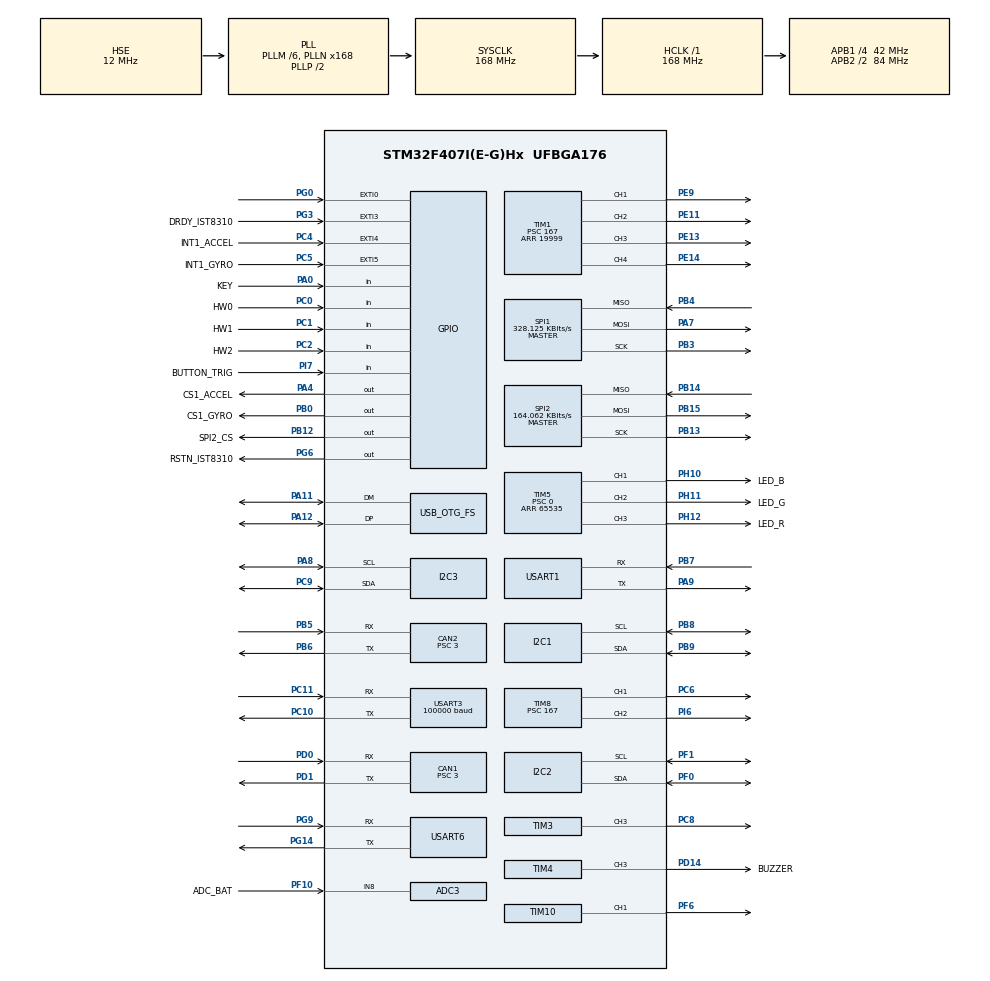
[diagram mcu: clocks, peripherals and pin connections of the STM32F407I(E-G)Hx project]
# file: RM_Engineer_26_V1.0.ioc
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ADC1.Channel-0\#ChannelRegularConversion=ADC_CHANNEL_TEMPSENSOR
ADC1.ClockPrescaler=ADC_CLOCK_SYNC_PCLK_DIV6
ADC1.NbrOfConversionFlag=1
ADC1.Rank-0\#ChannelRegularConversion=1
ADC1.SamplingTime-0\#ChannelRegularConversion=ADC_SAMPLETIME_3CYCLES
ADC1.master=1
ADC3.Channel-0\#ChannelRegularConversion=ADC_CHANNEL_8
ADC3.ClockPrescaler=ADC_CLOCK_SYNC_PCLK_DIV6
ADC3.NbrOfConversionFlag=1
ADC3.Rank-0\#ChannelRegularConversion=1
ADC3.SamplingTime-0\#ChannelRegularConversion=ADC_SAMPLETIME_3CYCLES
CAN1.BS1=CAN_BS1_10TQ
CAN1.BS2=CAN_BS2_3TQ
CAN1.CalculateBaudRate=1000000
CAN1.CalculateTimeQuantum=71.42857142857143
CAN1.Prescaler=3
CAN2.BS1=CAN_BS1_10TQ
CAN2.BS2=CAN_BS2_3TQ
CAN2.CalculateBaudRate=1000000
CAN2.CalculateTimeQuantum=71.42857142857143
CAN2.Prescaler=3
Dma.I2C2_TX.2.Direction=DMA_MEMORY_TO_PERIPH
Dma.I2C2_TX.2.FIFOMode=DMA_FIFOMODE_DISABLE
Dma.I2C2_TX.2.Instance=DMA1_Stream7
Dma.I2C2_TX.2.MemDataAlignment=DMA_MDATAALIGN_BYTE
Dma.I2C2_TX.2.MemInc=DMA_MINC_ENABLE
Dma.I2C2_TX.2.Mode=DMA_NORMAL
Dma.I2C2_TX.2.PeriphDataAlignment=DMA_PDATAALIGN_BYTE
Dma.I2C2_TX.2.PeriphInc=DMA_PINC_DISABLE
Dma.I2C2_TX.2.Priority=DMA_PRIORITY_HIGH
Dma.Request0=SPI1_RX
Dma.Request1=SPI1_TX
Dma.Request2=I2C2_TX
Dma.Request3=USART3_RX
Dma.Request4=USART6_RX
Dma.Request5=USART6_TX
Dma.Request6=USART1_TX
Dma.Request7=USART1_RX
Dma.SPI1_RX.0.Direction=DMA_PERIPH_TO_MEMORY
Dma.SPI1_RX.0.FIFOMode=DMA_FIFOMODE_DISABLE
Dma.SPI1_RX.0.Instance=DMA2_Stream2
Dma.SPI1_RX.0.MemDataAlignment=DMA_MDATAALIGN_BYTE
Dma.SPI1_RX.0.MemInc=DMA_MINC_ENABLE
Dma.SPI1_RX.0.Mode=DMA_NORMAL
Dma.SPI1_RX.0.PeriphDataAlignment=DMA_PDATAALIGN_BYTE
Dma.SPI1_RX.0.PeriphInc=DMA_PINC_DISABLE
Dma.SPI1_RX.0.Priority=DMA_PRIORITY_VERY_HIGH
Dma.SPI1_TX.1.Direction=DMA_MEMORY_TO_PERIPH
Dma.SPI1_TX.1.FIFOMode=DMA_FIFOMODE_DISABLE
Dma.SPI1_TX.1.Instance=DMA2_Stream3
Dma.SPI1_TX.1.MemDataAlignment=DMA_MDATAALIGN_BYTE
Dma.SPI1_TX.1.MemInc=DMA_MINC_ENABLE
Dma.SPI1_TX.1.Mode=DMA_NORMAL
Dma.SPI1_TX.1.PeriphDataAlignment=DMA_PDATAALIGN_BYTE
Dma.SPI1_TX.1.PeriphInc=DMA_PINC_DISABLE
Dma.SPI1_TX.1.Priority=DMA_PRIORITY_HIGH
Dma.USART1_RX.7.Direction=DMA_PERIPH_TO_MEMORY
Dma.USART1_RX.7.FIFOMode=DMA_FIFOMODE_DISABLE
Dma.USART1_RX.7.Instance=DMA2_Stream5
Dma.USART1_RX.7.MemDataAlignment=DMA_MDATAALIGN_BYTE
Dma.USART1_RX.7.MemInc=DMA_MINC_ENABLE
Dma.USART1_RX.7.Mode=DMA_NORMAL
Dma.USART1_RX.7.PeriphDataAlignment=DMA_PDATAALIGN_BYTE
Dma.USART1_RX.7.PeriphInc=DMA_PINC_DISABLE
Dma.USART1_RX.7.Priority=DMA_PRIORITY_VERY_HIGH
Dma.USART1_TX.6.Direction=DMA_MEMORY_TO_PERIPH
Dma.USART1_TX.6.FIFOMode=DMA_FIFOMODE_DISABLE
Dma.USART1_TX.6.Instance=DMA2_Stream7
Dma.USART1_TX.6.MemDataAlignment=DMA_MDATAALIGN_BYTE
Dma.USART1_TX.6.MemInc=DMA_MINC_ENABLE
Dma.USART1_TX.6.Mode=DMA_NORMAL
Dma.USART1_TX.6.PeriphDataAlignment=DMA_PDATAALIGN_BYTE
Dma.USART1_TX.6.PeriphInc=DMA_PINC_DISABLE
Dma.USART1_TX.6.Priority=DMA_PRIORITY_MEDIUM
Dma.USART3_RX.3.Direction=DMA_PERIPH_TO_MEMORY
Dma.USART3_RX.3.FIFOMode=DMA_FIFOMODE_DISABLE
Dma.USART3_RX.3.Instance=DMA1_Stream1
Dma.USART3_RX.3.MemDataAlignment=DMA_MDATAALIGN_BYTE
Dma.USART3_RX.3.MemInc=DMA_MINC_ENABLE
Dma.USART3_RX.3.Mode=DMA_NORMAL
Dma.USART3_RX.3.PeriphDataAlignment=DMA_PDATAALIGN_BYTE
Dma.USART3_RX.3.PeriphInc=DMA_PINC_DISABLE
Dma.USART3_RX.3.Priority=DMA_PRIORITY_HIGH
Dma.USART6_RX.4.Direction=DMA_PERIPH_TO_MEMORY
Dma.USART6_RX.4.FIFOMode=DMA_FIFOMODE_DISABLE
Dma.USART6_RX.4.Instance=DMA2_Stream1
Dma.USART6_RX.4.MemDataAlignment=DMA_MDATAALIGN_BYTE
Dma.USART6_RX.4.MemInc=DMA_MINC_ENABLE
Dma.USART6_RX.4.Mode=DMA_NORMAL
Dma.USART6_RX.4.PeriphDataAlignment=DMA_PDATAALIGN_BYTE
Dma.USART6_RX.4.PeriphInc=DMA_PINC_DISABLE
Dma.USART6_RX.4.Priority=DMA_PRIORITY_HIGH
Dma.USART6_TX.5.Direction=DMA_MEMORY_TO_PERIPH
Dma.USART6_TX.5.FIFOMode=DMA_FIFOMODE_DISABLE
Dma.USART6_TX.5.Instance=DMA2_Stream6
Dma.USART6_TX.5.MemDataAlignment=DMA_MDATAALIGN_BYTE
Dma.USART6_TX.5.MemInc=DMA_MINC_ENABLE
Dma.USART6_TX.5.Mode=DMA_NORMAL
Dma.USART6_TX.5.PeriphDataAlignment=DMA_PDATAALIGN_BYTE
Dma.USART6_TX.5.PeriphInc=DMA_PINC_DISABLE
Dma.USART6_TX.5.Priority=DMA_PRIORITY_MEDIUM
FREERTOS.INCLUDE_eTaskGetState=1
FREERTOS.INCLUDE_pcTaskGetTaskName=1
FREERTOS.INCLUDE_uxTaskGetStackHighWaterMark=1
FREERTOS.INCLUDE_vTaskCleanUpResources=1
FREERTOS.INCLUDE_vTaskDelayUntil=1
FREERTOS.INCLUDE_xEventGroupSetBitFromISR=1
FREERTOS.INCLUDE_xQueueGetMutexHolder=1
FREERTOS.INCLUDE_xSemaphoreGetMutexHolder=1
FREERTOS.INCLUDE_xTaskAbortDelay=1
FREERTOS.INCLUDE_xTaskGetCurrentTaskHandle=1
FREERTOS.INCLUDE_xTaskGetHandle=1
FREERTOS.INCLUDE_xTimerPendFunctionCall=1
FREERTOS.Tasks01=test,24,128,test_task,As weak,NULL,Dynamic,NULL,NULL
FREERTOS.configTOTAL_HEAP_SIZE=24576
I2C1.I2C_Mode=I2C_Fast
I2C2.I2C_Mode=I2C_Fast
I2C3.I2C_Mode=I2C_Fast
Mcu.Family=STM32F4
Mcu.Name=STM32F407I(E-G)Hx
Mcu.Package=UFBGA176
NVIC.CAN1_RX0_IRQn=true\:6\:0\:true\:false\:true\:true\:true\:true\:true
NVIC.CAN2_RX0_IRQn=true\:6\:0\:true\:false\:true\:true\:true\:true\:true
NVIC.DMA1_Stream1_IRQn=true\:5\:0\:true\:false\:false\:true\:false\:false\:true
NVIC.DMA1_Stream7_IRQn=true\:5\:0\:true\:false\:false\:true\:false\:true\:true
NVIC.DMA2_Stream1_IRQn=true\:5\:0\:true\:false\:true\:true\:false\:true\:true
NVIC.DMA2_Stream2_IRQn=true\:5\:0\:true\:false\:false\:true\:false\:true\:true
NVIC.DMA2_Stream3_IRQn=true\:5\:0\:true\:false\:false\:true\:false\:true\:true
NVIC.DMA2_Stream5_IRQn=true\:5\:0\:false\:false\:true\:true\:false\:true\:true
NVIC.DMA2_Stream6_IRQn=true\:5\:0\:true\:false\:true\:true\:false\:true\:true
NVIC.DMA2_Stream7_IRQn=true\:5\:0\:true\:false\:true\:true\:false\:true\:true
NVIC.EXTI0_IRQn=true\:6\:0\:true\:false\:true\:true\:true\:true\:true
NVIC.EXTI3_IRQn=true\:5\:0\:true\:false\:true\:true\:true\:true\:true
NVIC.EXTI4_IRQn=true\:5\:0\:true\:false\:true\:true\:true\:true\:true
NVIC.EXTI9_5_IRQn=true\:5\:0\:true\:false\:true\:true\:true\:true\:true
NVIC.OTG_FS_IRQn=true\:5\:0\:false\:false\:true\:true\:false\:true\:true
NVIC.PriorityGroup=NVIC_PRIORITYGROUP_4
NVIC.TIM2_IRQn=true\:15\:0\:false\:false\:true\:false\:false\:true\:true
NVIC.TimeBase=TIM2_IRQn
NVIC.TimeBaseIP=TIM2
NVIC.USART1_IRQn=true\:5\:0\:false\:false\:true\:true\:true\:true\:true
NVIC.USART3_IRQn=true\:4\:0\:true\:false\:false\:false\:true\:true\:true
NVIC.USART6_IRQn=true\:5\:0\:true\:false\:false\:true\:true\:true\:true
PA0-WKUP.GPIO_Label=KEY
PA0-WKUP.GPIO_PuPd=GPIO_PULLUP
PA0-WKUP.Signal=GPIO_Input
PA11.Mode=Device_Only
PA11.Signal=USB_OTG_FS_DM
PA12.Mode=Device_Only
PA12.Signal=USB_OTG_FS_DP
PA13.Mode=Serial_Wire
PA13.Signal=SYS_JTMS-SWDIO
PA14.Mode=Serial_Wire
PA14.Signal=SYS_JTCK-SWCLK
PA4.GPIO_Label=CS1_ACCEL
PA4.GPIO_PuPd=GPIO_PULLUP
PA4.GPIO_Speed=GPIO_SPEED_FREQ_HIGH
PA4.PinState=GPIO_PIN_SET
PA4.Signal=GPIO_Output
PA7.GPIO_PuPd=GPIO_PULLUP
PA7.Mode=Full_Duplex_Master
PA7.Signal=SPI1_MOSI
PA8.GPIO_Pu=GPIO_PULLUP
PA8.Mode=I2C
PA8.Signal=I2C3_SCL
PA9.Mode=Asynchronous
PA9.Signal=USART1_TX
PB0.GPIO_Label=CS1_GYRO
PB0.GPIO_PuPd=GPIO_PULLUP
PB0.GPIO_Speed=GPIO_SPEED_FREQ_HIGH
PB0.PinState=GPIO_PIN_SET
PB0.Signal=GPIO_Output
PB12.GPIO_Label=SPI2_CS
PB12.GPIO_PuPd=GPIO_PULLUP
PB12.GPIO_Speed=GPIO_SPEED_FREQ_MEDIUM
PB12.PinState=GPIO_PIN_SET
PB12.Signal=GPIO_Output
PB13.GPIO_PuPd=GPIO_PULLUP
PB13.Mode=Full_Duplex_Master
PB13.Signal=SPI2_SCK
PB14.GPIO_PuPd=GPIO_PULLUP
PB14.Mode=Full_Duplex_Master
PB14.Signal=SPI2_MISO
PB15.GPIO_PuPd=GPIO_PULLUP
PB15.Mode=Full_Duplex_Master
PB15.Signal=SPI2_MOSI
PB3.GPIO_PuPd=GPIO_PULLUP
PB3.Mode=Full_Duplex_Master
PB3.Signal=SPI1_SCK
PB4.GPIO_PuPd=GPIO_PULLUP
PB4.Mode=Full_Duplex_Master
PB4.Signal=SPI1_MISO
PB5.Mode=CAN_Activate
PB5.Signal=CAN2_RX
PB6.Mode=CAN_Activate
PB6.Signal=CAN2_TX
PB7.Mode=Asynchronous
PB7.Signal=USART1_RX
PB8.GPIO_Pu=GPIO_PULLUP
PB8.Mode=I2C
PB8.Signal=I2C1_SCL
PB9.GPIO_Pu=GPIO_PULLUP
PB9.Mode=I2C
PB9.Signal=I2C1_SDA
PC0.GPIO_Label=HW0
PC0.Signal=GPIO_Input
PC1.GPIO_Label=HW1
PC1.Signal=GPIO_Input
PC10.Mode=Asynchronous
PC10.Signal=USART3_TX
PC11.Mode=Asynchronous
PC11.Signal=USART3_RX
PC2.GPIO_Label=HW2
PC2.Signal=GPIO_Input
PC4.GPIO_Label=INT1_ACCEL
PC4.GPIO_ModeDefaultEXTI=GPIO_MODE_IT_FALLING
PC4.GPIO_PuPd=GPIO_PULLUP
PC4.Signal=GPXTI4
PC5.GPIO_Label=INT1_GYRO
PC5.GPIO_ModeDefaultEXTI=GPIO_MODE_IT_FALLING
PC5.GPIO_PuPd=GPIO_PULLUP
PC5.Signal=GPXTI5
PC6.GPIO_PuPd=GPIO_PULLUP
PC6.GPIO_Speed=GPIO_SPEED_FREQ_HIGH
PC6.Signal=S_TIM8_CH1
PC8.GPIO_PuPd=GPIO_PULLUP
PC8.GPIO_Speed=GPIO_SPEED_FREQ_HIGH
PC8.Signal=S_TIM3_CH3
PC9.GPIO_Pu=GPIO_PULLUP
PC9.Mode=I2C
PC9.Signal=I2C3_SDA
PD0.Mode=CAN_Activate
PD0.Signal=CAN1_RX
PD1.Mode=CAN_Activate
PD1.Signal=CAN1_TX
PD14.GPIO_Label=BUZZER
PD14.GPIO_PuPd=GPIO_PULLUP
PD14.GPIO_Speed=GPIO_SPEED_FREQ_VERY_HIGH
PD14.Signal=S_TIM4_CH3
PE11.GPIO_PuPd=GPIO_PULLUP
PE11.GPIO_Speed=GPIO_SPEED_FREQ_HIGH
PE11.Signal=S_TIM1_CH2
PE13.GPIO_PuPd=GPIO_PULLUP
PE13.GPIO_Speed=GPIO_SPEED_FREQ_HIGH
PE13.Signal=S_TIM1_CH3
PE14.GPIO_PuPd=GPIO_PULLUP
PE14.GPIO_Speed=GPIO_SPEED_FREQ_HIGH
PE14.Signal=S_TIM1_CH4
PE9.GPIO_PuPd=GPIO_PULLUP
PE9.GPIO_Speed=GPIO_SPEED_FREQ_HIGH
PE9.Signal=S_TIM1_CH1
PF0.GPIO_Pu=GPIO_PULLUP
PF0.Mode=I2C
PF0.Signal=I2C2_SDA
PF1.GPIO_Pu=GPIO_PULLUP
PF1.Mode=I2C
PF1.Signal=I2C2_SCL
PF10.GPIO_Label=ADC_BAT
PF10.Mode=IN8
PF10.Signal=ADC3_IN8
PF6.GPIO_PuPd=GPIO_PULLUP
PF6.GPIO_Speed=GPIO_SPEED_FREQ_HIGH
PF6.Signal=S_TIM10_CH1
PG0.GPIO_ModeDefaultEXTI=GPIO_MODE_IT_FALLING
PG0.GPIO_PuPd=GPIO_PULLUP
PG0.Signal=GPXTI0
PG14.Mode=Asynchronous
PG14.Signal=USART6_TX
PG3.GPIO_Label=DRDY_IST8310
PG3.GPIO_ModeDefaultEXTI=GPIO_MODE_IT_FALLING
PG3.GPIO_PuPd=GPIO_PULLUP
PG3.Signal=GPXTI3
PG6.GPIO_Label=RSTN_IST8310
PG6.GPIO_PuPd=GPIO_PULLUP
PG6.GPIO_Speed=GPIO_SPEED_FREQ_MEDIUM
PG6.PinState=GPIO_PIN_SET
PG6.Signal=GPIO_Output
PG9.Mode=Asynchronous
PG9.Signal=USART6_RX
PH0-OSC_IN.Mode=HSE-External-Oscillator
PH0-OSC_IN.Signal=RCC_OSC_IN
PH1-OSC_OUT.Mode=HSE-External-Oscillator
PH1-OSC_OUT.Signal=RCC_OSC_OUT
PH10.GPIO_Label=LED_B
PH10.GPIO_PuPd=GPIO_PULLUP
PH10.GPIO_Speed=GPIO_SPEED_FREQ_HIGH
PH10.Signal=S_TIM5_CH1
PH11.GPIO_Label=LED_G
PH11.GPIO_PuPd=GPIO_PULLUP
PH11.GPIO_Speed=GPIO_SPEED_FREQ_HIGH
PH11.Signal=S_TIM5_CH2
PH12.GPIO_Label=LED_R
PH12.GPIO_PuPd=GPIO_PULLUP
PH12.GPIO_Speed=GPIO_SPEED_FREQ_HIGH
PH12.Signal=S_TIM5_CH3
PI6.GPIO_PuPd=GPIO_PULLUP
PI6.GPIO_Speed=GPIO_SPEED_FREQ_HIGH
PI6.Signal=S_TIM8_CH2
PI7.GPIO_Label=BUTTON_TRIG
PI7.GPIO_PuPd=GPIO_PULLUP
PI7.Signal=GPIO_Input
ProjectManager.HeapSize=0x2000
ProjectManager.StackSize=0x2000
ProjectManager.TargetToolchain=CMake
RCC.48MHZClocksFreq_Value=48000000
RCC.AHBFreq_Value=168000000
RCC.APB1CLKDivider=RCC_HCLK_DIV4
RCC.APB1Freq_Value=42000000
RCC.APB1TimFreq_Value=84000000
RCC.APB2CLKDivider=RCC_HCLK_DIV2
RCC.APB2Freq_Value=84000000
RCC.APB2TimFreq_Value=168000000
RCC.CortexFreq_Value=168000000
RCC.HCLKFreq_Value=168000000
RCC.HSE_VALUE=12000000
RCC.HSI_VALUE=16000000
RCC.LSE_VALUE=32768
RCC.PLLM=6
RCC.PLLN=168
RCC.PLLQ=7
RCC.RCC_RTC_Clock_SourceVirtual=RCC_RTCCLKSOURCE_HSE_DIV30
RCC.RCC_RTC_Clock_Source_FROM_HSE=RCC_RTCCLKSOURCE_HSE_DIV30
RCC.SYSCLKFreq_VALUE=168000000
RCC.SYSCLKSource=RCC_SYSCLKSOURCE_PLLCLK
RCC.VCOOutputFreq_Value=336000000
RTC.AsynchPrediv=124
RTC.SynchPrediv=3199
SH.S_TIM10_CH1.0=TIM10_CH1,PWM Generation1 CH1
SH.S_TIM1_CH1.0=TIM1_CH1,PWM Generation1 CH1
SH.S_TIM1_CH2.0=TIM1_CH2,PWM Generation2 CH2
SH.S_TIM1_CH3.0=TIM1_CH3,PWM Generation3 CH3
SH.S_TIM1_CH4.0=TIM1_CH4,PWM Generation4 CH4
SH.S_TIM3_CH3.0=TIM3_CH3,PWM Generation3 CH3
SH.S_TIM4_CH3.0=TIM4_CH3,PWM Generation3 CH3
SH.S_TIM5_CH1.0=TIM5_CH1,PWM Generation1 CH1
SH.S_TIM5_CH2.0=TIM5_CH2,PWM Generation2 CH2
SH.S_TIM5_CH3.0=TIM5_CH3,PWM Generation3 CH3
SH.S_TIM8_CH1.0=TIM8_CH1,PWM Generation1 CH1
SH.S_TIM8_CH2.0=TIM8_CH2,PWM Generation2 CH2
SPI1.BaudRatePrescaler=SPI_BAUDRATEPRESCALER_256
SPI1.CLKPhase=SPI_PHASE_2EDGE
SPI1.CLKPolarity=SPI_POLARITY_HIGH
SPI1.CalculateBaudRate=328.125 KBits/s
SPI1.Direction=SPI_DIRECTION_2LINES
SPI1.Mode=SPI_MODE_MASTER
SPI1.VirtualType=VM_MASTER
SPI2.BaudRatePrescaler=SPI_BAUDRATEPRESCALER_256
SPI2.CLKPhase=SPI_PHASE_2EDGE
SPI2.CLKPolarity=SPI_POLARITY_HIGH
SPI2.CalculateBaudRate=164.062 KBits/s
SPI2.Direction=SPI_DIRECTION_2LINES
SPI2.Mode=SPI_MODE_MASTER
SPI2.VirtualType=VM_MASTER
TIM1.Channel-PWM\ Generation1\ CH1=TIM_CHANNEL_1
TIM1.Channel-PWM\ Generation2\ CH2=TIM_CHANNEL_2
TIM1.Channel-PWM\ Generation3\ CH3=TIM_CHANNEL_3
TIM1.Channel-PWM\ Generation4\ CH4=TIM_CHANNEL_4
TIM1.Period=19999
TIM1.Prescaler=167
TIM1.Pulse-PWM\ Generation1\ CH1=1000
TIM1.Pulse-PWM\ Generation2\ CH2=1000
TIM1.Pulse-PWM\ Generation3\ CH3=1000
TIM1.Pulse-PWM\ Generation4\ CH4=1000
TIM10.Channel=TIM_CHANNEL_1
TIM10.Period=4999
TIM3.Channel-PWM\ Generation3\ CH3=TIM_CHANNEL_3
TIM3.Period=8399
TIM4.Channel-PWM\ Generation3\ CH3=TIM_CHANNEL_3
TIM4.Period=65535
TIM4.Prescaler=167
TIM5.Channel-PWM\ Generation1\ CH1=TIM_CHANNEL_1
TIM5.Channel-PWM\ Generation2\ CH2=TIM_CHANNEL_2
TIM5.Channel-PWM\ Generation3\ CH3=TIM_CHANNEL_3
TIM5.Period=65535
TIM5.Prescaler=0
TIM8.Channel-PWM\ Generation1\ CH1=TIM_CHANNEL_1
TIM8.Channel-PWM\ Generation2\ CH2=TIM_CHANNEL_2
TIM8.Period=19999
TIM8.Prescaler=167
TIM8.Pulse-PWM\ Generation1\ CH1=1000
TIM8.Pulse-PWM\ Generation2\ CH2=1000
USART1.VirtualMode=VM_ASYNC
USART3.BaudRate=100000
USART3.Parity=PARITY_EVEN
USART3.VirtualMode=VM_ASYNC
USART6.VirtualMode=VM_ASYNC
USB_DEVICE.CLASS_NAME_FS=CDC
USB_DEVICE.VirtualMode-CDC_FS=Cdc
USB_DEVICE.VirtualModeFS=Cdc_FS
USB_OTG_FS.VirtualMode=Device_Only
VP_ADC1_TempSens_Input.Mode=IN-TempSens
VP_ADC1_Vref_Input.Mode=IN-Vrefint
VP_CRC_VS_CRC.Mode=CRC_Activate
VP_FREERTOS_VS_CMSIS_V2.Mode=CMSIS_V2
VP_RNG_VS_RNG.Mode=RNG_Activate
VP_RTC_VS_RTC_Activate.Mode=RTC_Enabled
VP_SYS_VS_tim2.Mode=TIM2
VP_TIM10_VS_ClockSourceINT.Mode=Enable_Timer
VP_TIM1_VS_ClockSourceINT.Mode=Internal
VP_TIM3_VS_ClockSourceINT.Mode=Internal
VP_TIM4_VS_ClockSourceINT.Mode=Internal
VP_TIM5_VS_ClockSourceINT.Mode=Internal
VP_TIM8_VS_ClockSourceINT.Mode=Internal
VP_USB_DEVICE_VS_USB_DEVICE_CDC_FS.Mode=CDC_FS
board=custom

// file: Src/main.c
/* USER CODE BEGIN Header */
/**
  ******************************************************************************
  * @file           : main.c
  * @brief          : Main program body
  ******************************************************************************
  * @attention
  *
  * Copyright (c) 2025 STMicroelectronics.
  * All rights reserved.
  *
  * This software is licensed under terms that can be found in the LICENSE file
  * in the root directory of this software component.
  * If no LICENSE file comes with this software, it is provided AS-IS.
  *
  ******************************************************************************
  */
/* USER CODE END Header */
#include "main.h"
#include "cmsis_os.h"
#include "adc.h"
#include "can.h"
#include "crc.h"
#include "dma.h"
#include "i2c.h"
#include "rng.h"
#include "rtc.h"
#include "spi.h"
#include "tim.h"
#include "usart.h"
#include "usb_device.h"
#include "gpio.h"

/* USER CODE BEGIN Includes */
#include "bsp_usart.h"
#include "remote_control.h"
#include "bsp_buzzer.h"
#include "bsp_can.h"

/* USER CODE END Includes */

/* USER CODE BEGIN PV */
extern const RC_ctrl_t* local_rc_ctrl;
/* USER CODE END PV */

void SystemClock_Config(void);
void MX_FREERTOS_Init(void);

int main(void)
{

  /* MCU Configuration--------------------------------------------------------*/

  /* Reset of all peripherals, Initializes the Flash interface and the Systick. */
  HAL_Init();

  /* Configure the system clock */
  SystemClock_Config();

  /* Initialize all configured peripherals */
  MX_GPIO_Init();
  MX_DMA_Init();
  MX_ADC1_Init();
  MX_ADC3_Init();
  MX_CAN1_Init();
  MX_CAN2_Init();
  MX_I2C1_Init();
  MX_SPI1_Init();
  MX_TIM4_Init();
  MX_TIM5_Init();
  MX_USART3_UART_Init();
  MX_TIM8_Init();
  MX_CRC_Init();
  MX_RNG_Init();
  MX_I2C2_Init();
  MX_I2C3_Init();
  MX_RTC_Init();
  MX_SPI2_Init();
  MX_TIM1_Init();
  MX_TIM3_Init();
  MX_TIM10_Init();
  MX_USART1_UART_Init();
  MX_USART6_UART_Init();
  /* USER CODE BEGIN 2 */

  BSP_CAN_Init();

  remote_control_init();
  HAL_Delay(100);
  local_rc_ctrl = get_remote_control_point();
 // buzzer_init();
  /* USER CODE END 2 */

  /* Init scheduler */
  osKernelInitialize();  /* Call init function for freertos objects (in cmsis_os2.c) */
  MX_FREERTOS_Init();

  /* Start scheduler */
  osKernelStart();

  /* We should never get here as control is now taken by the scheduler */

  /* Infinite loop */
  while (1)
  {

  }
}

void SystemClock_Config(void)
{
  RCC_OscInitTypeDef RCC_OscInitStruct = {0};
  RCC_ClkInitTypeDef RCC_ClkInitStruct = {0};

  /** Configure the main internal regulator output voltage
  */
  __HAL_RCC_PWR_CLK_ENABLE();
  __HAL_PWR_VOLTAGESCALING_CONFIG(PWR_REGULATOR_VOLTAGE_SCALE1);

  /** Initializes the RCC Oscillators according to the specified parameters
  * in the RCC_OscInitTypeDef structure.
  */
  RCC_OscInitStruct.OscillatorType = RCC_OSCILLATORTYPE_HSE;
  RCC_OscInitStruct.HSEState = RCC_HSE_ON;
  RCC_OscInitStruct.PLL.PLLState = RCC_PLL_ON;
  RCC_OscInitStruct.PLL.PLLSource = RCC_PLLSOURCE_HSE;
  RCC_OscInitStruct.PLL.PLLM = 6;
  RCC_OscInitStruct.PLL.PLLN = 168;
  RCC_OscInitStruct.PLL.PLLP = RCC_PLLP_DIV2;
  RCC_OscInitStruct.PLL.PLLQ = 7;
  if (HAL_RCC_OscConfig(&RCC_OscInitStruct) != HAL_OK)
  {
    Error_Handler();
  }

  /** Initializes the CPU, AHB and APB buses clocks
  */
  RCC_ClkInitStruct.ClockType = RCC_CLOCKTYPE_HCLK|RCC_CLOCKTYPE_SYSCLK
                              |RCC_CLOCKTYPE_PCLK1|RCC_CLOCKTYPE_PCLK2;
  RCC_ClkInitStruct.SYSCLKSource = RCC_SYSCLKSOURCE_PLLCLK;
  RCC_ClkInitStruct.AHBCLKDivider = RCC_SYSCLK_DIV1;
  RCC_ClkInitStruct.APB1CLKDivider = RCC_HCLK_DIV4;
  RCC_ClkInitStruct.APB2CLKDivider = RCC_HCLK_DIV2;

  if (HAL_RCC_ClockConfig(&RCC_ClkInitStruct, FLASH_LATENCY_5) != HAL_OK)
  {
    Error_Handler();
  }
}

void HAL_TIM_PeriodElapsedCallback(TIM_HandleTypeDef *htim)
{
  if (htim->Instance == TIM2)
  {
    HAL_IncTick();
  }
}

void Error_Handler(void)
{
  __disable_irq();
  while (1)
  {
  }
}

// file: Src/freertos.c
/* USER CODE BEGIN Header */
/**
  ******************************************************************************
  * File Name          : freertos.c
  * Description        : Code for freertos applications
  ******************************************************************************
  * @attention
  *
  * Copyright (c) 2025 STMicroelectronics.
  * All rights reserved.
  *
  * This software is licensed under terms that can be found in the LICENSE file
  * in the root directory of this software component.
  * If no LICENSE file comes with this software, it is provided AS-IS.
  *
  ******************************************************************************
  */
/* USER CODE END Header */

#include "FreeRTOS.h"
#include "task.h"
#include "main.h"
#include "cmsis_os.h"

/* USER CODE BEGIN Includes */
//#include "bsp_usart.h"
#include "CAN_receive.h"
#include "remote_control.h"
#include "chassis_control_task.h"
#include "com_with_gimbal.h"
#include "shoot_task.h"
#include "rdk_comm_task.h"
/* USER CODE END Includes */

/* USER CODE BEGIN Variables */
extern const RC_ctrl_t * local_rc_ctrl;
/* USER CODE END Variables */
/* Definitions for test */
osThreadId_t testHandle;
const osThreadAttr_t test_attributes = {
  .name = "test",
  .stack_size = 128 * 4,
  .priority = (osPriority_t) osPriorityNormal,
};

/* USER CODE BEGIN FunctionPrototypes */
osThreadId_t Com_Handle;
const osThreadAttr_t uart_com_attributes = {
  .name = "test",
  .stack_size = 256 * 4,
  .priority = (osPriority_t) osPriorityHigh - 1,
};

osThreadId_t Chassis_Handle;
const osThreadAttr_t chassis_task_attributes = {
  .name = "chassis_task",
  .stack_size = 256 * 12,
  .priority = (osPriority_t) osPriorityHigh ,
};

osThreadId_t Shoot_Handle;
const osThreadAttr_t shoot_task_attributes = {
  .name = "chassis_task",
  .stack_size = 256 * 2,
  .priority = (osPriority_t) osPriorityHigh ,
};

osThreadId_t RdkCom_Handle;
const osThreadAttr_t rdk_com_task_attributes = {
  .name = "rdk_com_task",
  .stack_size = 256 * 4,
  .priority = (osPriority_t) osPriorityHigh - 1,
};

/* USER CODE END FunctionPrototypes */

void test_task(void *argument);

extern void MX_USB_DEVICE_Init(void);
void MX_FREERTOS_Init(void); /* (MISRA C 2004 rule 8.1) */

void MX_FREERTOS_Init(void) {

  /* Create the thread(s) */
  /* creation of test */
  testHandle = osThreadNew(test_task, NULL, &test_attributes);
  Chassis_Handle = osThreadNew(chassis_control_task,NULL,&chassis_task_attributes);
  RdkCom_Handle = osThreadNew(rdk_comm_task,NULL,&rdk_com_task_attributes);
  //Shoot_Handle = osThreadNew(shoot_task,NULL,&shoot_task_attributes);
 // Com_Handle = osThreadNew(communication_with_gimbal_task,NULL,&uart_com_attributes);

}

__weak void test_task(void *argument)
{
  /* init code for USB_DEVICE */
  MX_USB_DEVICE_Init();
  for(;;)
  {
    osDelay(1);
  }
}

/* USER CODE BEGIN Application */
void chassis_test_task(void * argument) {
  int16_t velocity_forword = 0;
  int16_t velocity_turn = 0;
  int16_t velocity_14 = 0;
  int16_t velocity_23 = 0;

  while (1) {
    if (switch_is_down(local_rc_ctrl->rc.s[1])) {
      velocity_forword = local_rc_ctrl->rc.ch[3] * 40;
      velocity_turn = local_rc_ctrl->rc.ch[2] * 5;
      CAN_cmd_chassis(velocity_forword + velocity_turn, -(velocity_forword - velocity_turn), velocity_forword + velocity_turn, -(velocity_forword - velocity_turn));

    }
    else if (switch_is_up(local_rc_ctrl->rc.s[1])) {

      velocity_14 = -local_rc_ctrl->rc.ch[2] * 30 + local_rc_ctrl->rc.ch[3] * 30;
      velocity_23 = local_rc_ctrl->rc.ch[2] * 30 + local_rc_ctrl->rc.ch[3] * 30;
      CAN_cmd_chassis(velocity_14,-velocity_23,velocity_23,-velocity_14);

    }
    osDelay(2);

  }

}
/* USER CODE END Application */
